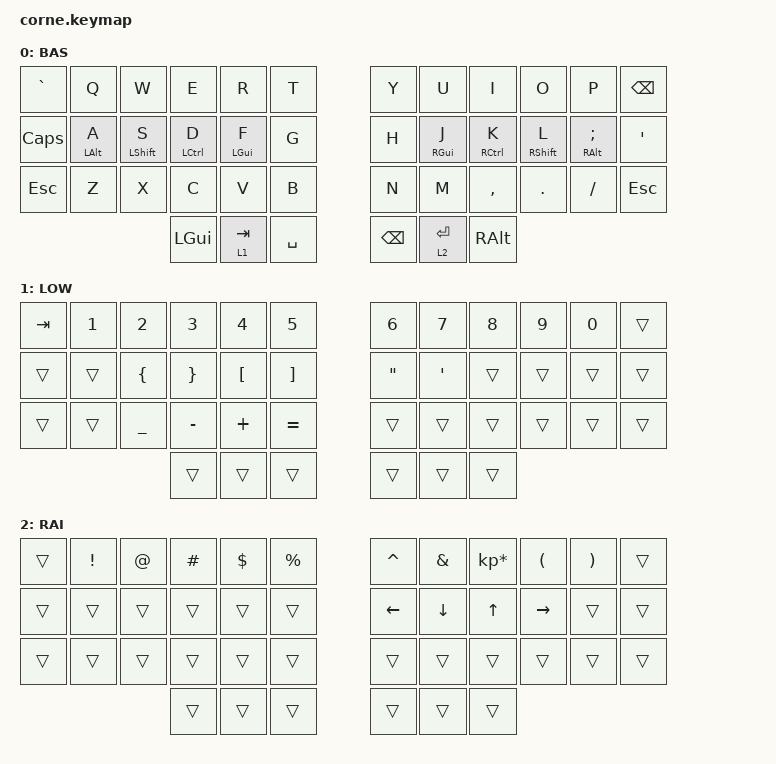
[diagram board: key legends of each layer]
/*
 * Copyright (c) 2020 The ZMK Contributors
 *
 * SPDX-License-Identifier: MIT
 */

#include <dt-bindings/led/led.h>
#include <dt-bindings/zmk/reset.h>
#include <behaviors.dtsi>
#include <dt-bindings/zmk/keys.h>

&led_strip { chain-length = <27>; };

/ {
    keymap {
        compatible = "zmk,keymap";

        default_layer {
            display-name = "BAS";

            // -----------------------------------------------------------------------------------------
            // |  TAB |  Q  |  W  |  E  |  R  |  T  |   |  Y  |  U   |  I  |  O  |  P  | BKSP |
            // | CTRL |  A  |  S  |  D  |  F  |  G  |   |  H  |  J   |  K  |  L  |  ;  |  '   |
            // | SHFT |  Z  |  X  |  C  |  V  |  B  |   |  N  |  M   |  ,  |  .  |  /  | ESC  |
            //                    | GUI | LWR | SPC |   | ENT | RSE  | ALT |

            bindings = <
&kp GRAVE     &kp Q           &kp W             &kp E               &kp R           &kp T        &kp Y          &kp U            &kp I                &kp O              &kp P                    &kp BSPC
&kp CAPSLOCK  &mt LEFT_ALT A  &mt LEFT_SHIFT S  &mt LEFT_CONTROL D  &mt LEFT_GUI F  &kp G        &kp H          &mt RIGHT_GUI J  &mt RIGHT_CONTROL K  &mt RIGHT_SHIFT L  &mt RIGHT_ALT SEMICOLON  &kp SQT
&kp ESCAPE    &kp Z           &kp X             &kp C               &kp V           &kp B        &kp N          &kp M            &kp COMMA            &kp DOT            &kp FSLH                 &kp ESC
                                                &kp LGUI            &lt 1 TAB       &kp SPACE    &kp BACKSPACE  &lt 2 ENTER      &kp RALT
            >;
        };

        lower_layer {
            display-name = "LOW";

            // -----------------------------------------------------------------------------------------
            // |  TAB |  1  |  2  |  3  |  4  |  5  |   |  6  |  7  |  8  |  9  |  0  | BKSP |
            // | BTCLR| BT1 | BT2 | BT3 | BT4 | BT5 |   | LFT | DWN |  UP | RGT |     |      |
            // | SHFT |     |     |     |     |     |   |     |     |     |     |     |      |
            //                    | GUI |     | SPC |   | ENT |     | ALT |

            bindings = <
&kp TAB  &kp N1  &kp N2          &kp N3           &kp N4            &kp N5               &kp N6             &kp N7            &kp N8  &kp N9  &kp N0  &trans
&trans   &trans  &kp LEFT_BRACE  &kp RIGHT_BRACE  &kp LEFT_BRACKET  &kp RIGHT_BRACKET    &kp DOUBLE_QUOTES  &kp SINGLE_QUOTE  &trans  &trans  &trans  &trans
&trans   &trans  &kp UNDERSCORE  &kp MINUS        &kp PLUS          &kp EQUAL            &trans             &trans            &trans  &trans  &trans  &trans
                                 &trans           &trans            &trans               &trans             &trans            &trans
            >;
        };

        raise_layer {
            display-name = "RAI";

            // -----------------------------------------------------------------------------------------
            // |  TAB |  !  |  @  |  #  |  $  |  %  |   |  ^  |  &  |  *  |  (  |  )  | BKSP |
            // | CTRL |     |     |     |     |     |   |  -  |  =  |  [  |  ]  |  \  |  `   |
            // | SHFT |     |     |     |     |     |   |  _  |  +  |  {  |  }  | "|" |  ~   |
            //                    | GUI |     | SPC |   | ENT |     | ALT |

            bindings = <
&trans  &kp EXCL  &kp AT  &kp HASH  &kp DLLR  &kp PRCNT    &kp CARET       &kp AMPS        &kp KP_MULTIPLY  &kp LPAR   &kp RPAR  &trans
&trans  &trans    &trans  &trans    &trans    &trans       &kp LEFT_ARROW  &kp DOWN_ARROW  &kp UP_ARROW     &kp RIGHT  &trans    &trans
&trans  &trans    &trans  &trans    &trans    &trans       &trans          &trans          &trans           &trans     &trans    &trans
                          &trans    &trans    &trans       &trans          &trans          &trans
            >;
        };

        extra_1 { status = "reserved"; };

        extra_2 { status = "reserved"; };

        extra_3 { status = "reserved"; };
    };
};
